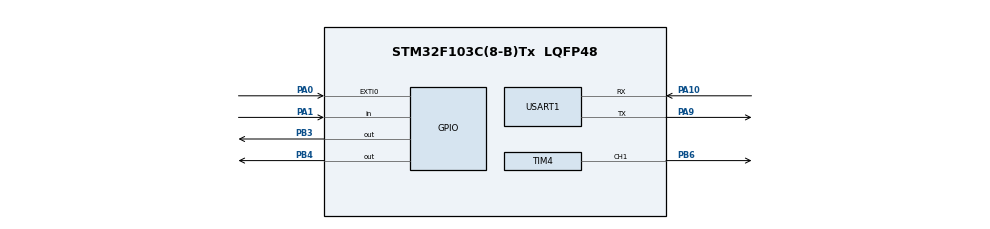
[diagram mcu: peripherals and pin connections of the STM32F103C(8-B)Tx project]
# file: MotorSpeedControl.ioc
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Mcu.Family=STM32F1
Mcu.Name=STM32F103C(8-B)Tx
Mcu.Package=LQFP48
NVIC.EXTI0_IRQn=true\:0\:0\:false\:false\:true\:true\:true\:true
NVIC.PriorityGroup=NVIC_PRIORITYGROUP_4
NVIC.TIM1_UP_IRQn=true\:0\:0\:false\:false\:true\:true\:true\:true
NVIC.TIM2_IRQn=true\:0\:0\:false\:false\:true\:true\:true\:true
NVIC.USART1_IRQn=true\:0\:0\:false\:false\:true\:true\:true\:true
PA0-WKUP.GPIO_ModeDefaultEXTI=GPIO_MODE_IT_FALLING
PA0-WKUP.Signal=GPXTI0
PA1.Signal=GPIO_Input
PA10.Mode=Asynchronous
PA10.Signal=USART1_RX
PA13.Mode=Serial_Wire
PA13.Signal=SYS_JTMS-SWDIO
PA14.Mode=Serial_Wire
PA14.Signal=SYS_JTCK-SWCLK
PA9.Mode=Asynchronous
PA9.Signal=USART1_TX
PB3.GPIO_Speed=GPIO_SPEED_FREQ_HIGH
PB3.Signal=GPIO_Output
PB4.GPIO_Speed=GPIO_SPEED_FREQ_HIGH
PB4.Signal=GPIO_Output
PB6.Signal=S_TIM4_CH1
PC14-OSC32_IN.Mode=LSE-External-Oscillator
PC14-OSC32_IN.Signal=RCC_OSC32_IN
PC15-OSC32_OUT.Mode=LSE-External-Oscillator
PC15-OSC32_OUT.Signal=RCC_OSC32_OUT
PD0-OSC_IN.Mode=HSE-External-Oscillator
PD0-OSC_IN.Signal=RCC_OSC_IN
PD1-OSC_OUT.Mode=HSE-External-Oscillator
PD1-OSC_OUT.Signal=RCC_OSC_OUT
ProjectManager.HeapSize=0x200
ProjectManager.StackSize=0x400
ProjectManager.TargetToolchain=STM32CubeIDE
RCC.APB1Freq_Value=8000000
RCC.APB2Freq_Value=8000000
SH.S_TIM4_CH1.0=TIM4_CH1,PWM Generation1 CH1
TIM1.Period=1000
TIM1.Prescaler=800
TIM2.Period=1000
TIM2.Prescaler=800
TIM4.Channel-PWM\ Generation1\ CH1=TIM_CHANNEL_1
TIM4.Period=1000
TIM4.Prescaler=8
USART1.VirtualMode=VM_ASYNC
VP_TIM1_VS_ClockSourceINT.Mode=Internal
VP_TIM2_VS_ClockSourceINT.Mode=Internal
VP_TIM4_VS_ClockSourceINT.Mode=Internal
board=custom

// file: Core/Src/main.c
/* USER CODE BEGIN Header */
/**
  ******************************************************************************
  * @file           : main.c
  * @brief          : Main program body
  ******************************************************************************
  * @attention
  *
  * Copyright (c) 2026 STMicroelectronics.
  * All rights reserved.
  *
  * This software is licensed under terms that can be found in the LICENSE file
  * in the root directory of this software component.
  * If no LICENSE file comes with this software, it is provided AS-IS.
  *
  ******************************************************************************
  */
/* USER CODE END Header */
#include "main.h"

/* USER CODE BEGIN Includes */
#include <stdio.h>
#include <string.h>
/* USER CODE END Includes */

TIM_HandleTypeDef htim1;
TIM_HandleTypeDef htim2;
TIM_HandleTypeDef htim4;

UART_HandleTypeDef huart1;

void SystemClock_Config(void);
static void MX_GPIO_Init(void);
static void MX_USART1_UART_Init(void);
static void MX_TIM4_Init(void);
static void MX_TIM1_Init(void);
static void MX_TIM2_Init(void);

/* USER CODE BEGIN 0 */

#define GPIO_IN1 GPIOB
#define GPIO_PIN_IN1 GPIO_PIN_3
#define GPIO_IN2 GPIOB
#define GPIO_PIN_IN2 GPIO_PIN_4
#define GPIO_ENA GPIOB
#define GPIO_PIN_ENA GPIO_PIN_6

volatile float current_measurement_value, error = 0, previous_error = 0;
volatile static float integral = 0, derivative = 0;
volatile float setpoint = 100, Kp = 2, Ki = 0.5, Kd = 0.01;
volatile float Delta_t = 0.1;
volatile float output;

volatile static float current_pulse_speed, previous_pulse_speed = 0;
volatile static float Delta_time_speed = 0.1;
volatile static float speed;

void Clockwise() {
HAL_GPIO_WritePin(GPIO_IN1, GPIO_PIN_IN1, GPIO_PIN_SET);
HAL_GPIO_WritePin(GPIO_IN2, GPIO_PIN_IN2, GPIO_PIN_RESET);
HAL_GPIO_WritePin(GPIO_ENA, GPIO_PIN_ENA, GPIO_PIN_SET);
}
void Counterclockwise() {
HAL_GPIO_WritePin(GPIO_IN1, GPIO_PIN_IN1, GPIO_PIN_RESET);
HAL_GPIO_WritePin(GPIO_IN2, GPIO_PIN_IN2, GPIO_PIN_SET);
HAL_GPIO_WritePin(GPIO_ENA, GPIO_PIN_ENA, GPIO_PIN_SET);
}
void Stop() {
HAL_GPIO_WritePin(GPIO_IN1, GPIO_PIN_IN1, GPIO_PIN_RESET);
HAL_GPIO_WritePin(GPIO_IN2, GPIO_PIN_IN2, GPIO_PIN_RESET);
HAL_GPIO_WritePin(GPIO_ENA, GPIO_PIN_ENA, GPIO_PIN_RESET);
}

volatile long pulse;
/*Using external interupt to count the encoder pulse*/
void HAL_GPIO_EXTI_Callback(uint16_t GPIO_Pin) {
if (HAL_GPIO_ReadPin(GPIOA, GPIO_PIN_1) == 0) {
pulse--;
} else {
pulse++;
}
}

/*Function to generate PWM to control the ENA pin of module L298N*/
void Output_PWM(TIM_HandleTypeDef *htim, uint32_t Channel, float Duty_Cycle) {
Duty_Cycle = Duty_Cycle / 100 * htim->Instance->ARR;
__HAL_TIM_SET_COMPARE(htim, Channel, (uint16_t)Duty_Cycle);
}

void PositionalControl() {
if (output > 0) {
Clockwise();
Output_PWM(&htim4, TIM_CHANNEL_1, output);
}
if (output < 0) {
Counterclockwise();
Output_PWM(&htim4, TIM_CHANNEL_1, -output);
}
if (output == 0) {
Stop();
Output_PWM(&htim4, TIM_CHANNEL_1, output);
}
}

void HAL_TIM_PeriodElapsedCallback(TIM_HandleTypeDef *htim) {
/*Using timer interupt TIM1 to measure the speed of the motor*/
if (htim == &htim1) {
current_pulse_speed = pulse;
speed = (current_pulse_speed - previous_pulse_speed)/300
/ Delta_time_speed*60;
previous_pulse_speed = current_pulse_speed;
}

/*Using timer interupt 2 to control the motor speed*/
if (htim == &htim2) {
current_measurement_value = speed;
error = setpoint - current_measurement_value;
integral = integral + (error * Delta_t);
derivative = (error - previous_error) / Delta_t;
output = (Kp * error) + (Ki * integral) + (Kd * derivative);
if (output > 100)
output = 100;
if (output < -100)
output = -100;
previous_error = error;
PositionalControl();
}
}
/* USER CODE END 0 */

int main(void)
{

  /* MCU Configuration--------------------------------------------------------*/

  /* Reset of all peripherals, Initializes the Flash interface and the Systick. */
  HAL_Init();

  /* Configure the system clock */
  SystemClock_Config();

  /* Initialize all configured peripherals */
  MX_GPIO_Init();
  MX_USART1_UART_Init();
  MX_TIM4_Init();
  MX_TIM1_Init();
  MX_TIM2_Init();
  /* USER CODE BEGIN 2 */
  HAL_TIM_PWM_Start(&htim4, TIM_CHANNEL_1);
  Output_PWM(&htim4,TIM_CHANNEL_1,50);
  HAL_TIM_Base_Start_IT(&htim1);
  HAL_TIM_Base_Start_IT(&htim2);
  /* USER CODE END 2 */

  /* Infinite loop */
  /* USER CODE BEGIN WHILE */
  while (1)
  {
	  char str[200];
	  sprintf(str, "encoder_pulse=%ld V=%.2f Output=%.2f er=%.2f\r\n",
	  pulse, speed, output, error);
	  HAL_UART_Transmit_IT(&huart1, (uint8_t*) str, strlen(str));
	  HAL_Delay(100);
    /* USER CODE END WHILE */

  }
}

void SystemClock_Config(void)
{
  RCC_OscInitTypeDef RCC_OscInitStruct = {0};
  RCC_ClkInitTypeDef RCC_ClkInitStruct = {0};

  /** Initializes the RCC Oscillators according to the specified parameters
  * in the RCC_OscInitTypeDef structure.
  */
  RCC_OscInitStruct.OscillatorType = RCC_OSCILLATORTYPE_HSI;
  RCC_OscInitStruct.HSIState = RCC_HSI_ON;
  RCC_OscInitStruct.HSICalibrationValue = RCC_HSICALIBRATION_DEFAULT;
  RCC_OscInitStruct.PLL.PLLState = RCC_PLL_NONE;
  if (HAL_RCC_OscConfig(&RCC_OscInitStruct) != HAL_OK)
  {
    Error_Handler();
  }

  /** Initializes the CPU, AHB and APB buses clocks
  */
  RCC_ClkInitStruct.ClockType = RCC_CLOCKTYPE_HCLK|RCC_CLOCKTYPE_SYSCLK
                              |RCC_CLOCKTYPE_PCLK1|RCC_CLOCKTYPE_PCLK2;
  RCC_ClkInitStruct.SYSCLKSource = RCC_SYSCLKSOURCE_HSI;
  RCC_ClkInitStruct.AHBCLKDivider = RCC_SYSCLK_DIV1;
  RCC_ClkInitStruct.APB1CLKDivider = RCC_HCLK_DIV1;
  RCC_ClkInitStruct.APB2CLKDivider = RCC_HCLK_DIV1;

  if (HAL_RCC_ClockConfig(&RCC_ClkInitStruct, FLASH_LATENCY_0) != HAL_OK)
  {
    Error_Handler();
  }
}

static void MX_TIM1_Init(void)
{

  TIM_ClockConfigTypeDef sClockSourceConfig = {0};
  TIM_MasterConfigTypeDef sMasterConfig = {0};

  htim1.Instance = TIM1;
  htim1.Init.Prescaler = 800;
  htim1.Init.CounterMode = TIM_COUNTERMODE_UP;
  htim1.Init.Period = 1000;
  htim1.Init.ClockDivision = TIM_CLOCKDIVISION_DIV1;
  htim1.Init.RepetitionCounter = 0;
  htim1.Init.AutoReloadPreload = TIM_AUTORELOAD_PRELOAD_DISABLE;
  if (HAL_TIM_Base_Init(&htim1) != HAL_OK)
  {
    Error_Handler();
  }
  sClockSourceConfig.ClockSource = TIM_CLOCKSOURCE_INTERNAL;
  if (HAL_TIM_ConfigClockSource(&htim1, &sClockSourceConfig) != HAL_OK)
  {
    Error_Handler();
  }
  sMasterConfig.MasterOutputTrigger = TIM_TRGO_RESET;
  sMasterConfig.MasterSlaveMode = TIM_MASTERSLAVEMODE_DISABLE;
  if (HAL_TIMEx_MasterConfigSynchronization(&htim1, &sMasterConfig) != HAL_OK)
  {
    Error_Handler();
  }

}

static void MX_TIM2_Init(void)
{

  TIM_ClockConfigTypeDef sClockSourceConfig = {0};
  TIM_MasterConfigTypeDef sMasterConfig = {0};

  htim2.Instance = TIM2;
  htim2.Init.Prescaler = 800;
  htim2.Init.CounterMode = TIM_COUNTERMODE_UP;
  htim2.Init.Period = 1000;
  htim2.Init.ClockDivision = TIM_CLOCKDIVISION_DIV1;
  htim2.Init.AutoReloadPreload = TIM_AUTORELOAD_PRELOAD_DISABLE;
  if (HAL_TIM_Base_Init(&htim2) != HAL_OK)
  {
    Error_Handler();
  }
  sClockSourceConfig.ClockSource = TIM_CLOCKSOURCE_INTERNAL;
  if (HAL_TIM_ConfigClockSource(&htim2, &sClockSourceConfig) != HAL_OK)
  {
    Error_Handler();
  }
  sMasterConfig.MasterOutputTrigger = TIM_TRGO_RESET;
  sMasterConfig.MasterSlaveMode = TIM_MASTERSLAVEMODE_DISABLE;
  if (HAL_TIMEx_MasterConfigSynchronization(&htim2, &sMasterConfig) != HAL_OK)
  {
    Error_Handler();
  }

}

static void MX_TIM4_Init(void)
{

  TIM_ClockConfigTypeDef sClockSourceConfig = {0};
  TIM_MasterConfigTypeDef sMasterConfig = {0};
  TIM_OC_InitTypeDef sConfigOC = {0};

  htim4.Instance = TIM4;
  htim4.Init.Prescaler = 8;
  htim4.Init.CounterMode = TIM_COUNTERMODE_UP;
  htim4.Init.Period = 1000;
  htim4.Init.ClockDivision = TIM_CLOCKDIVISION_DIV1;
  htim4.Init.AutoReloadPreload = TIM_AUTORELOAD_PRELOAD_DISABLE;
  if (HAL_TIM_Base_Init(&htim4) != HAL_OK)
  {
    Error_Handler();
  }
  sClockSourceConfig.ClockSource = TIM_CLOCKSOURCE_INTERNAL;
  if (HAL_TIM_ConfigClockSource(&htim4, &sClockSourceConfig) != HAL_OK)
  {
    Error_Handler();
  }
  if (HAL_TIM_PWM_Init(&htim4) != HAL_OK)
  {
    Error_Handler();
  }
  sMasterConfig.MasterOutputTrigger = TIM_TRGO_RESET;
  sMasterConfig.MasterSlaveMode = TIM_MASTERSLAVEMODE_DISABLE;
  if (HAL_TIMEx_MasterConfigSynchronization(&htim4, &sMasterConfig) != HAL_OK)
  {
    Error_Handler();
  }
  sConfigOC.OCMode = TIM_OCMODE_PWM1;
  sConfigOC.Pulse = 0;
  sConfigOC.OCPolarity = TIM_OCPOLARITY_HIGH;
  sConfigOC.OCFastMode = TIM_OCFAST_DISABLE;
  if (HAL_TIM_PWM_ConfigChannel(&htim4, &sConfigOC, TIM_CHANNEL_1) != HAL_OK)
  {
    Error_Handler();
  }
  HAL_TIM_MspPostInit(&htim4);

}

static void MX_USART1_UART_Init(void)
{

  huart1.Instance = USART1;
  huart1.Init.BaudRate = 115200;
  huart1.Init.WordLength = UART_WORDLENGTH_8B;
  huart1.Init.StopBits = UART_STOPBITS_1;
  huart1.Init.Parity = UART_PARITY_NONE;
  huart1.Init.Mode = UART_MODE_TX_RX;
  huart1.Init.HwFlowCtl = UART_HWCONTROL_NONE;
  huart1.Init.OverSampling = UART_OVERSAMPLING_16;
  if (HAL_UART_Init(&huart1) != HAL_OK)
  {
    Error_Handler();
  }

}

static void MX_GPIO_Init(void)
{
  GPIO_InitTypeDef GPIO_InitStruct = {0};

  /* GPIO Ports Clock Enable */
  __HAL_RCC_GPIOC_CLK_ENABLE();
  __HAL_RCC_GPIOD_CLK_ENABLE();
  __HAL_RCC_GPIOA_CLK_ENABLE();
  __HAL_RCC_GPIOB_CLK_ENABLE();

  /*Configure GPIO pin Output Level */
  HAL_GPIO_WritePin(GPIOB, GPIO_PIN_3|GPIO_PIN_4, GPIO_PIN_RESET);

  /*Configure GPIO pin : PA0 */
  GPIO_InitStruct.Pin = GPIO_PIN_0;
  GPIO_InitStruct.Mode = GPIO_MODE_IT_FALLING;
  GPIO_InitStruct.Pull = GPIO_NOPULL;
  HAL_GPIO_Init(GPIOA, &GPIO_InitStruct);

  /*Configure GPIO pin : PA1 */
  GPIO_InitStruct.Pin = GPIO_PIN_1;
  GPIO_InitStruct.Mode = GPIO_MODE_INPUT;
  GPIO_InitStruct.Pull = GPIO_NOPULL;
  HAL_GPIO_Init(GPIOA, &GPIO_InitStruct);

  /*Configure GPIO pins : PB3 PB4 */
  GPIO_InitStruct.Pin = GPIO_PIN_3|GPIO_PIN_4;
  GPIO_InitStruct.Mode = GPIO_MODE_OUTPUT_PP;
  GPIO_InitStruct.Pull = GPIO_NOPULL;
  GPIO_InitStruct.Speed = GPIO_SPEED_FREQ_HIGH;
  HAL_GPIO_Init(GPIOB, &GPIO_InitStruct);

  /* EXTI interrupt init*/
  HAL_NVIC_SetPriority(EXTI0_IRQn, 0, 0);
  HAL_NVIC_EnableIRQ(EXTI0_IRQn);

}

void Error_Handler(void)
{
  __disable_irq();
  while (1)
  {
  }
}
